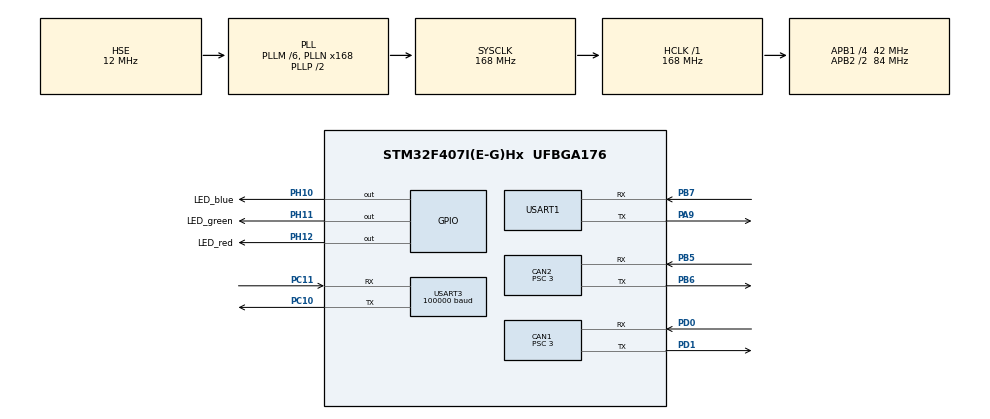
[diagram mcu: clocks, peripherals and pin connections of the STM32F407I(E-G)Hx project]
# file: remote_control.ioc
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CAN1.BS1=CAN_BS1_10TQ
CAN1.BS2=CAN_BS2_3TQ
CAN1.CalculateBaudRate=1000000
CAN1.CalculateTimeBit=1000
CAN1.CalculateTimeQuantum=71.42857142857143
CAN1.Prescaler=3
CAN2.BS1=CAN_BS1_10TQ
CAN2.BS2=CAN_BS2_3TQ
CAN2.CalculateBaudRate=1000000
CAN2.CalculateTimeBit=1000
CAN2.CalculateTimeQuantum=71.42857142857143
CAN2.Prescaler=3
Dma.Request0=USART1_TX
Dma.Request1=USART3_RX
Dma.USART1_TX.0.Direction=DMA_MEMORY_TO_PERIPH
Dma.USART1_TX.0.FIFOMode=DMA_FIFOMODE_DISABLE
Dma.USART1_TX.0.Instance=DMA2_Stream7
Dma.USART1_TX.0.MemDataAlignment=DMA_MDATAALIGN_BYTE
Dma.USART1_TX.0.MemInc=DMA_MINC_ENABLE
Dma.USART1_TX.0.Mode=DMA_NORMAL
Dma.USART1_TX.0.PeriphDataAlignment=DMA_PDATAALIGN_BYTE
Dma.USART1_TX.0.PeriphInc=DMA_PINC_DISABLE
Dma.USART1_TX.0.Priority=DMA_PRIORITY_VERY_HIGH
Dma.USART3_RX.1.Direction=DMA_PERIPH_TO_MEMORY
Dma.USART3_RX.1.FIFOMode=DMA_FIFOMODE_DISABLE
Dma.USART3_RX.1.Instance=DMA1_Stream1
Dma.USART3_RX.1.MemDataAlignment=DMA_MDATAALIGN_BYTE
Dma.USART3_RX.1.MemInc=DMA_MINC_ENABLE
Dma.USART3_RX.1.Mode=DMA_CIRCULAR
Dma.USART3_RX.1.PeriphDataAlignment=DMA_PDATAALIGN_BYTE
Dma.USART3_RX.1.PeriphInc=DMA_PINC_DISABLE
Dma.USART3_RX.1.Priority=DMA_PRIORITY_VERY_HIGH
Mcu.Family=STM32F4
Mcu.Name=STM32F407I(E-G)Hx
Mcu.Package=UFBGA176
NVIC.CAN1_RX0_IRQn=true\:0\:0\:false\:false\:true\:true\:true\:true
NVIC.CAN2_RX0_IRQn=true\:0\:0\:false\:false\:true\:true\:true\:true
NVIC.DMA1_Stream1_IRQn=true\:0\:0\:false\:false\:true\:false\:true\:true
NVIC.DMA2_Stream7_IRQn=true\:0\:0\:false\:false\:true\:false\:true\:true
NVIC.PriorityGroup=NVIC_PRIORITYGROUP_4
NVIC.USART1_IRQn=true\:0\:0\:false\:false\:true\:false\:true\:true
NVIC.USART3_IRQn=true\:0\:0\:false\:false\:true\:true\:true\:true
PA13.Mode=Serial_Wire
PA13.Signal=SYS_JTMS-SWDIO
PA14.Mode=Serial_Wire
PA14.Signal=SYS_JTCK-SWCLK
PA9.Mode=Asynchronous
PA9.Signal=USART1_TX
PB5.Mode=CAN_Activate
PB5.Signal=CAN2_RX
PB6.Mode=CAN_Activate
PB6.Signal=CAN2_TX
PB7.Mode=Asynchronous
PB7.Signal=USART1_RX
PC10.Mode=Asynchronous
PC10.Signal=USART3_TX
PC11.Mode=Asynchronous
PC11.Signal=USART3_RX
PC14-OSC32_IN.Mode=LSE-External-Oscillator
PC14-OSC32_IN.Signal=RCC_OSC32_IN
PC15-OSC32_OUT.Mode=LSE-External-Oscillator
PC15-OSC32_OUT.Signal=RCC_OSC32_OUT
PD0.Mode=CAN_Activate
PD0.Signal=CAN1_RX
PD1.Mode=CAN_Activate
PD1.Signal=CAN1_TX
PH0-OSC_IN.Mode=HSE-External-Oscillator
PH0-OSC_IN.Signal=RCC_OSC_IN
PH1-OSC_OUT.Mode=HSE-External-Oscillator
PH1-OSC_OUT.Signal=RCC_OSC_OUT
PH10.GPIO_Label=LED_blue
PH10.GPIO_PuPd=GPIO_PULLUP
PH10.GPIO_Speed=GPIO_SPEED_FREQ_HIGH
PH10.PinState=GPIO_PIN_SET
PH10.Signal=GPIO_Output
PH11.GPIO_Label=LED_green
PH11.GPIO_PuPd=GPIO_PULLUP
PH11.GPIO_Speed=GPIO_SPEED_FREQ_HIGH
PH11.PinState=GPIO_PIN_SET
PH11.Signal=GPIO_Output
PH12.GPIO_Label=LED_red
PH12.GPIO_PuPd=GPIO_PULLUP
PH12.GPIO_Speed=GPIO_SPEED_FREQ_HIGH
PH12.PinState=GPIO_PIN_SET
PH12.Signal=GPIO_Output
ProjectManager.HeapSize=0x200
ProjectManager.StackSize=0x400
ProjectManager.TargetToolchain=MDK-ARM V5.32
RCC.48MHZClocksFreq_Value=84000000
RCC.AHBFreq_Value=168000000
RCC.APB1CLKDivider=RCC_HCLK_DIV4
RCC.APB1Freq_Value=42000000
RCC.APB1TimFreq_Value=84000000
RCC.APB2CLKDivider=RCC_HCLK_DIV2
RCC.APB2Freq_Value=84000000
RCC.APB2TimFreq_Value=168000000
RCC.CortexFreq_Value=168000000
RCC.HCLKFreq_Value=168000000
RCC.HSE_VALUE=12000000
RCC.HSI_VALUE=16000000
RCC.PLLM=6
RCC.PLLN=168
RCC.PLLSourceVirtual=RCC_PLLSOURCE_HSE
RCC.SYSCLKFreq_VALUE=168000000
RCC.SYSCLKSource=RCC_SYSCLKSOURCE_PLLCLK
RCC.VCOOutputFreq_Value=336000000
USART1.VirtualMode=VM_ASYNC
USART3.BaudRate=100000
USART3.Parity=PARITY_EVEN
USART3.VirtualMode=VM_ASYNC
board=custom

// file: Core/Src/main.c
/* USER CODE BEGIN Header */
/**
  ******************************************************************************
  * @file           : main.c
  * @brief          : Main program body
  ******************************************************************************
  * @attention
  *
  * Copyright (c) 2025 STMicroelectronics.
  * All rights reserved.
  *
  * This software is licensed under terms that can be found in the LICENSE file
  * in the root directory of this software component.
  * If no LICENSE file comes with this software, it is provided AS-IS.
  *
  ******************************************************************************
  */
/* USER CODE END Header */
#include "main.h"
#include "can.h"
#include "dma.h"
#include "usart.h"
#include "gpio.h"

/* USER CODE BEGIN Includes */
#include "rc.h"
#include "uart.h"
#include <stdio.h>
#include <stdarg.h>
#include "string.h"
#include "bsp_can.h"
#include "CAN_receive.h"
#include "pid.h"
/* USER CODE END Includes */

/* USER CODE BEGIN PV */
uint8_t UARTBUF[100];

uint8_t len = 0;

/* USER CODE END PV */

void SystemClock_Config(void);

/* USER CODE BEGIN 0 */
const RC_ctrl_t *local_rc_ctrl;     // variable to recieve the local data of remote control

void usart_printf(const char *fmt,...)
{
    static uint8_t tx_buf[256] = {0};
    static va_list ap;
    static uint16_t len;
    va_start(ap, fmt);

    //return length of string
    //返回字符串长度
    len = vsprintf((char *)tx_buf, fmt, ap);

    va_end(ap);

   //usart1_tx_dma_enable(tx_buf, len);
   HAL_UART_Transmit_DMA(&huart1, tx_buf, len);

}

uint16_t set_speed;
pid_type_def motor_pid_yaw;   //pid variable
fp32 PID[3]={1,0.2,3.5};      //init pid coefficient value
const motor_measure_t* motor_data[8];    //variables to restore the local data of motor
void HAL_CAN_RxFifo0MsgPendingCallback(CAN_HandleTypeDef *hcan);     //callback to deal with the data including get data of motor
void CAN_cmd_chassis(int16_t M1, int16_t M2, int16_t M3, int16_t M4);// ***************************replace:CAN_cmd_gimbal
void CAN_cmd_gimbal(int16_t yaw, int16_t pitch, int16_t shoot, int16_t rev);

	/* pid control */
//	fp32 PID_Calc(PidTypeDef *pid,fp32 ref,fp32 set);
/* USER CODE END 0 */

int main(void)
{

  /* MCU Configuration--------------------------------------------------------*/

  /* Reset of all peripherals, Initializes the Flash interface and the Systick. */
  HAL_Init();

  /* Configure the system clock */
  SystemClock_Config();

  /* Initialize all configured peripherals */
  MX_GPIO_Init();
  MX_DMA_Init();
  MX_USART1_UART_Init();
  MX_USART3_UART_Init();
  MX_CAN1_Init();
  MX_CAN2_Init();
  /* USER CODE BEGIN 2 */
//  	HAL_GPIO_WritePin(LED_red_GPIO_Port, LED_red_Pin, GPIO_PIN_RESET);
//    HAL_GPIO_WritePin(LED_green_GPIO_Port, LED_green_Pin, GPIO_PIN_RESET);
//    HAL_GPIO_WritePin(LED_blue_GPIO_Port, LED_blue_Pin, GPIO_PIN_RESET);
//
  remote_control_init();   //enable usart3 to recieve and transform data of remote control
  usart1_tx_dma_init();     //enable usart1 to send dma
  local_rc_ctrl = get_remote_control_point();    //get data of local remote control

  PID_init(&motor_pid_yaw,PID_DELTA,PID,16000,1000);   //to init pid value
  can_filter_init();    //avoid signal interference
  motor_data[0]=get_yaw_gimbal_motor_measure_point();     // return and assign the data of motor            //****************replace:get_yaw_gimbal_motor_measure_point */
  /* USER CODE END 2 */

  /* Infinite loop */
  while (1)
  {

    /* USER CODE BEGIN 3 */

     usart_printf(
"**********\r\n\
ch0:%d\r\n\
ch1:%d\r\n\
ch2:%d\r\n\
ch3:%d\r\n\
ch4:%d\r\n\
s1:%d\r\n\
s2:%d\r\n\
mouse_x:%d\r\n\
mouse_y:%d\r\n\
press_l:%d\r\n\
press_r:%d\r\n\
key:%d\r\n\
**********\r\n",
            local_rc_ctrl->rc.ch[0], local_rc_ctrl->rc.ch[1], local_rc_ctrl->rc.ch[2], local_rc_ctrl->rc.ch[3], local_rc_ctrl->rc.ch[4],
            local_rc_ctrl->rc.s[0], local_rc_ctrl->rc.s[1],
            local_rc_ctrl->mouse.x, local_rc_ctrl->mouse.y,local_rc_ctrl->mouse.z, local_rc_ctrl->mouse.press_l, local_rc_ctrl->mouse.press_r,
            local_rc_ctrl->key.v);

       // HAL_Delay(200);
    PID_calc(&motor_pid_yaw, motor_data[0]->speed_rpm, local_rc_ctrl->rc.ch[0]*6);   //calculate the pid and assign that to motor
		//CAN_cmd_chassis(motor_pid.out,0,0,0);//ID:0X204���̵���˸����
	CAN_cmd_gimbal(motor_pid_yaw.out,0,0,0);         //****************replace */
    //CAN_cmd_gimbal(10000, 10000, 10000, 10000);
    //CAN_cmd_gimbal(10000, 0, 0, 0);

    HAL_Delay(5);
		//printf("My PID:%f,%d,%d\n",motor_pid.out,set,motor_data[0]->speed_rpm);

//			CAN_cmd_gimbal(500,0,0,0);
//			CAN_cmd_chassis(0,0,0,500);
//       HAL_Delay(10);

  ///////////////////////////********************************************* */
  //to test the dma transmit;
//   usart_printf("len = %d\r\n", len);
//   HAL_Delay(1000);
//   len++;

  }
  /* USER CODE END 3 */
}

void SystemClock_Config(void)
{
  RCC_OscInitTypeDef RCC_OscInitStruct = {0};
  RCC_ClkInitTypeDef RCC_ClkInitStruct = {0};

  /** Configure the main internal regulator output voltage
  */
  __HAL_RCC_PWR_CLK_ENABLE();
  __HAL_PWR_VOLTAGESCALING_CONFIG(PWR_REGULATOR_VOLTAGE_SCALE1);

  /** Initializes the RCC Oscillators according to the specified parameters
  * in the RCC_OscInitTypeDef structure.
  */
  RCC_OscInitStruct.OscillatorType = RCC_OSCILLATORTYPE_HSE;
  RCC_OscInitStruct.HSEState = RCC_HSE_ON;
  RCC_OscInitStruct.PLL.PLLState = RCC_PLL_ON;
  RCC_OscInitStruct.PLL.PLLSource = RCC_PLLSOURCE_HSE;
  RCC_OscInitStruct.PLL.PLLM = 6;
  RCC_OscInitStruct.PLL.PLLN = 168;
  RCC_OscInitStruct.PLL.PLLP = RCC_PLLP_DIV2;
  RCC_OscInitStruct.PLL.PLLQ = 4;
  if (HAL_RCC_OscConfig(&RCC_OscInitStruct) != HAL_OK)
  {
    Error_Handler();
  }

  /** Initializes the CPU, AHB and APB buses clocks
  */
  RCC_ClkInitStruct.ClockType = RCC_CLOCKTYPE_HCLK|RCC_CLOCKTYPE_SYSCLK
                              |RCC_CLOCKTYPE_PCLK1|RCC_CLOCKTYPE_PCLK2;
  RCC_ClkInitStruct.SYSCLKSource = RCC_SYSCLKSOURCE_PLLCLK;
  RCC_ClkInitStruct.AHBCLKDivider = RCC_SYSCLK_DIV1;
  RCC_ClkInitStruct.APB1CLKDivider = RCC_HCLK_DIV4;
  RCC_ClkInitStruct.APB2CLKDivider = RCC_HCLK_DIV2;

  if (HAL_RCC_ClockConfig(&RCC_ClkInitStruct, FLASH_LATENCY_5) != HAL_OK)
  {
    Error_Handler();
  }
}

void Error_Handler(void)
{
  __disable_irq();
  while (1)
  {
  }
}
